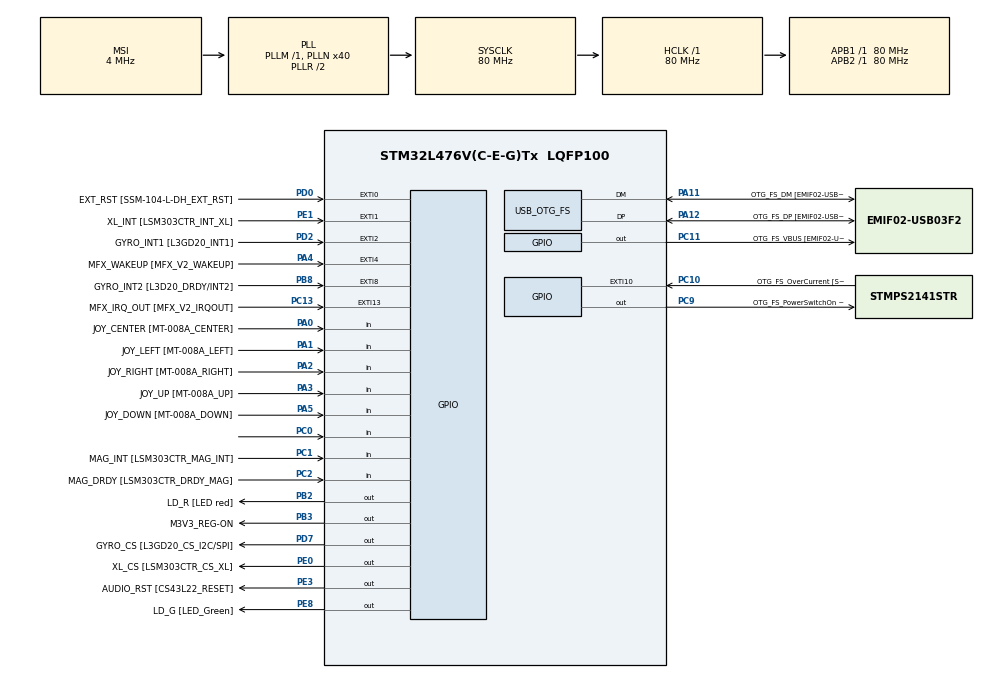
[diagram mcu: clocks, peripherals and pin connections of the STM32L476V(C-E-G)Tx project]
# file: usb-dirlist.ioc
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FATFS._FS_LOCK=20
Mcu.Family=STM32L4
Mcu.Name=STM32L476V(C-E-G)Tx
Mcu.Package=LQFP100
NVIC.OTG_FS_IRQn=true\:0\:0\:false\:false\:true\:true\:true\:true
NVIC.PriorityGroup=NVIC_PRIORITYGROUP_4
PA0.GPIO_Label=JOY_CENTER [MT-008A_CENTER]
PA0.GPIO_Mode=GPIO_MODE_INPUT
PA0.GPIO_PuPd=GPIO_PULLDOWN
PA0.Signal=GPIO_Input
PA1.GPIO_Label=JOY_LEFT [MT-008A_LEFT]
PA1.GPIO_Mode=GPIO_MODE_INPUT
PA1.GPIO_PuPd=GPIO_PULLDOWN
PA1.Signal=GPIO_Input
PA10.GPIO_Label=COM2 [GH08172T_COM2]
PA10.GPIO_Mode=GPIO_MODE_AF_PP
PA10.GPIO_PuPd=GPIO_NOPULL
PA10.GPIO_Speed=GPIO_SPEED_FREQ_LOW
PA10.Signal=LCD_COM2
PA11.GPIO_Label=OTG_FS_DM [EMIF02-USB03F2_D-out]
PA11.GPIO_Mode=GPIO_MODE_AF_PP
PA11.GPIO_PuPd=GPIO_NOPULL
PA11.GPIO_Speed=GPIO_SPEED_FREQ_VERY_HIGH
PA11.Mode=Host_Only
PA11.Signal=USB_OTG_FS_DM
PA12.GPIO_Label=OTG_FS_DP [EMIF02-USB03F2_D+out]
PA12.GPIO_Mode=GPIO_MODE_AF_PP
PA12.GPIO_PuPd=GPIO_NOPULL
PA12.GPIO_Speed=GPIO_SPEED_FREQ_VERY_HIGH
PA12.Mode=Host_Only
PA12.Signal=USB_OTG_FS_DP
PA13\ (JTMS-SWDIO).GPIO_Label=SWDIO
PA13\ (JTMS-SWDIO).Mode=Serial_Wire
PA13\ (JTMS-SWDIO).Signal=SYS_JTMS-SWDIO
PA14\ (JTCK-SWCLK).GPIO_Label=SWCLK
PA14\ (JTCK-SWCLK).Mode=Serial_Wire
PA14\ (JTCK-SWCLK).Signal=SYS_JTCK-SWCLK
PA15\ (JTDI).GPIO_Label=SEG10 [GH08172T_SEG10]
PA15\ (JTDI).GPIO_Mode=GPIO_MODE_AF_PP
PA15\ (JTDI).GPIO_PuPd=GPIO_NOPULL
PA15\ (JTDI).GPIO_Speed=GPIO_SPEED_FREQ_LOW
PA15\ (JTDI).Signal=LCD_SEG17
PA2.GPIO_Label=JOY_RIGHT [MT-008A_RIGHT]
PA2.GPIO_Mode=GPIO_MODE_INPUT
PA2.GPIO_PuPd=GPIO_PULLDOWN
PA2.Signal=GPIO_Input
PA3.GPIO_Label=JOY_UP [MT-008A_UP]
PA3.GPIO_Mode=GPIO_MODE_INPUT
PA3.GPIO_PuPd=GPIO_PULLDOWN
PA3.Signal=GPIO_Input
PA4.GPIO_Label=MFX_WAKEUP [MFX_V2_WAKEUP]
PA4.GPIO_ModeDefaultEXTI=GPIO_MODE_EVT_RISING
PA4.GPIO_PuPd=GPIO_NOPULL
PA4.Signal=GPXTI4
PA5.GPIO_Label=JOY_DOWN [MT-008A_DOWN]
PA5.GPIO_Mode=GPIO_MODE_INPUT
PA5.GPIO_PuPd=GPIO_PULLDOWN
PA5.Signal=GPIO_Input
PA6.GPIO_Label=SEG23 [GH08172T_SEG23]
PA6.GPIO_Mode=GPIO_MODE_AF_PP
PA6.GPIO_PuPd=GPIO_NOPULL
PA6.GPIO_Speed=GPIO_SPEED_FREQ_LOW
PA6.Signal=LCD_SEG3
PA7.GPIO_Label=SEG0 [GH08172T_SEG0]
PA7.GPIO_Mode=GPIO_MODE_AF_PP
PA7.GPIO_PuPd=GPIO_NOPULL
PA7.GPIO_Speed=GPIO_SPEED_FREQ_LOW
PA7.Signal=LCD_SEG4
PA8.GPIO_Label=COM0 [GH08172T_COM0]
PA8.GPIO_Mode=GPIO_MODE_AF_PP
PA8.GPIO_PuPd=GPIO_NOPULL
PA8.GPIO_Speed=GPIO_SPEED_FREQ_LOW
PA8.Signal=LCD_COM0
PA9.GPIO_Label=COM1 [GH08172T_COM1]
PA9.GPIO_Mode=GPIO_MODE_AF_PP
PA9.GPIO_PuPd=GPIO_NOPULL
PA9.GPIO_Speed=GPIO_SPEED_FREQ_LOW
PA9.Signal=LCD_COM1
PB0.GPIO_Label=SEG21 [GH08172T_SEG21]
PB0.GPIO_Mode=GPIO_MODE_AF_PP
PB0.GPIO_PuPd=GPIO_NOPULL
PB0.GPIO_Speed=GPIO_SPEED_FREQ_LOW
PB0.Signal=LCD_SEG5
PB1.GPIO_Label=SEG2 [GH08172T_SEG2]
PB1.GPIO_Mode=GPIO_MODE_AF_PP
PB1.GPIO_PuPd=GPIO_NOPULL
PB1.GPIO_Speed=GPIO_SPEED_FREQ_LOW
PB1.Signal=LCD_SEG6
PB10.GPIO_Label=MFX_I2C_SLC [MFX_V2_I2C_SCL]
PB10.GPIO_Mode=GPIO_MODE_AF_OD
PB10.GPIO_PuPdOD=GPIO_PULLUP
PB10.GPIO_Speed=GPIO_SPEED_FREQ_VERY_HIGH
PB10.Signal=I2C2_SCL
PB11.GPIO_Label=MFX_I2C_SDA [MFX_V2_I2C_SDA]
PB11.GPIO_Mode=GPIO_MODE_AF_OD
PB11.GPIO_PuPdOD=GPIO_PULLUP
PB11.GPIO_Speed=GPIO_SPEED_FREQ_VERY_HIGH
PB11.Signal=I2C2_SDA
PB12.GPIO_Label=SEG20 [GH08172T_SEG20]
PB12.GPIO_Mode=GPIO_MODE_AF_PP
PB12.GPIO_PuPd=GPIO_NOPULL
PB12.GPIO_Speed=GPIO_SPEED_FREQ_LOW
PB12.Signal=LCD_SEG12
PB13.GPIO_Label=SEG3 [GH08172T_SEG3]
PB13.GPIO_Mode=GPIO_MODE_AF_PP
PB13.GPIO_PuPd=GPIO_NOPULL
PB13.GPIO_Speed=GPIO_SPEED_FREQ_LOW
PB13.Signal=LCD_SEG13
PB14.GPIO_Label=SEG19 [GH08172T_SEG19]
PB14.GPIO_Mode=GPIO_MODE_AF_PP
PB14.GPIO_PuPd=GPIO_NOPULL
PB14.GPIO_Speed=GPIO_SPEED_FREQ_LOW
PB14.Signal=LCD_SEG14
PB15.GPIO_Label=SEG4 [GH08172T_SEG4]
PB15.GPIO_Mode=GPIO_MODE_AF_PP
PB15.GPIO_PuPd=GPIO_NOPULL
PB15.GPIO_Speed=GPIO_SPEED_FREQ_LOW
PB15.Signal=LCD_SEG15
PB2.GPIO_Label=LD_R [LED red]
PB2.GPIO_ModeDefaultOutputPP=GPIO_MODE_OUTPUT_PP
PB2.GPIO_PuPd=GPIO_PULLUP
PB2.GPIO_Speed=GPIO_SPEED_FREQ_VERY_HIGH
PB2.Signal=GPIO_Output
PB3\ (JTDO-TRACESWO).GPIO_Label=M3V3_REG-ON
PB3\ (JTDO-TRACESWO).GPIO_ModeDefaultOutputPP=GPIO_MODE_OUTPUT_PP
PB3\ (JTDO-TRACESWO).GPIO_PuPd=GPIO_NOPULL
PB3\ (JTDO-TRACESWO).GPIO_Speed=GPIO_SPEED_FREQ_LOW
PB3\ (JTDO-TRACESWO).Signal=GPIO_Output
PB4\ (NJTRST).GPIO_Label=SEG11 [GH08172T_SEG11]
PB4\ (NJTRST).GPIO_Mode=GPIO_MODE_AF_PP
PB4\ (NJTRST).GPIO_PuPd=GPIO_NOPULL
PB4\ (NJTRST).GPIO_Speed=GPIO_SPEED_FREQ_LOW
PB4\ (NJTRST).Signal=LCD_SEG8
PB5.GPIO_Label=SEG12 [GH08172T_SEG12]
PB5.GPIO_Mode=GPIO_MODE_AF_PP
PB5.GPIO_PuPd=GPIO_NOPULL
PB5.GPIO_Speed=GPIO_SPEED_FREQ_LOW
PB5.Signal=LCD_SEG9
PB6.GPIO_FM6=__NULL
PB6.GPIO_Label=I2C1_SCL [SSM-104-L-DH_SCL]
PB6.GPIO_Mode=GPIO_MODE_AF_OD
PB6.GPIO_PuPdOD=GPIO_PULLUP
PB6.GPIO_Speed=GPIO_SPEED_FREQ_VERY_HIGH
PB6.Signal=I2C1_SCL
PB7.GPIO_FM7=__NULL
PB7.GPIO_Label=I2C1_SDA [SSM-104-L-DH_SDA]
PB7.GPIO_Mode=GPIO_MODE_AF_OD
PB7.GPIO_PuPdOD=GPIO_PULLUP
PB7.GPIO_Speed=GPIO_SPEED_FREQ_VERY_HIGH
PB7.Signal=I2C1_SDA
PB8.GPIO_Label=GYRO_INT2 [L3D20_DRDY/INT2]
PB8.GPIO_ModeDefaultEXTI=GPIO_MODE_EVT_RISING
PB8.GPIO_PuPd=GPIO_NOPULL
PB8.Signal=GPXTI8
PB9.GPIO_FM9=__NULL
PB9.GPIO_Label=COM3 [GH08172T_COM3]
PB9.GPIO_Mode=GPIO_MODE_AF_PP
PB9.GPIO_PuPd=GPIO_NOPULL
PB9.GPIO_Speed=GPIO_SPEED_FREQ_LOW
PB9.Signal=LCD_COM3
PC0.Signal=GPIO_Input
PC1.GPIO_Label=MAG_INT [LSM303CTR_MAG_INT]
PC1.GPIO_Mode=GPIO_MODE_INPUT
PC1.GPIO_PuPd=GPIO_NOPULL
PC1.Signal=GPIO_Input
PC10.GPIO_Label=OTG_FS_OverCurrent [STMPS2141STR_FAULT]
PC10.GPIO_ModeDefaultEXTI=GPIO_MODE_EVT_RISING
PC10.GPIO_PuPd=GPIO_NOPULL
PC10.Signal=GPXTI10
PC11.GPIO_Label=OTG_FS_VBUS [EMIF02-USB03F2_Vbus]
PC11.GPIO_ModeDefaultOutputPP=GPIO_MODE_OUTPUT_PP
PC11.GPIO_PuPd=GPIO_NOPULL
PC11.GPIO_Speed=GPIO_SPEED_FREQ_LOW
PC11.Signal=GPIO_Output
PC13.GPIO_Label=MFX_IRQ_OUT [MFX_V2_IRQOUT]
PC13.GPIO_ModeDefaultEXTI=GPIO_MODE_EVT_RISING
PC13.GPIO_PuPd=GPIO_NOPULL
PC13.Signal=GPXTI13
PC14-OSC32_IN\ (PC14).Mode=LSE-External-Oscillator
PC14-OSC32_IN\ (PC14).Signal=RCC_OSC32_IN
PC15-OSC32_OUT\ (PC15).Mode=LSE-External-Oscillator
PC15-OSC32_OUT\ (PC15).Signal=RCC_OSC32_OUT
PC2.GPIO_Label=MAG_DRDY [LSM303CTR_DRDY_MAG]
PC2.GPIO_Mode=GPIO_MODE_INPUT
PC2.GPIO_PuPd=GPIO_NOPULL
PC2.Signal=GPIO_Input
PC3.GPIO_Label=VLCD
PC3.GPIO_Mode=GPIO_MODE_AF_PP
PC3.GPIO_PuPd=GPIO_NOPULL
PC3.GPIO_Speed=GPIO_SPEED_FREQ_LOW
PC3.Signal=LCD_VLCD
PC4.GPIO_Label=SEG22 [GH08172T_SEG22]
PC4.GPIO_Mode=GPIO_MODE_AF_PP
PC4.GPIO_PuPd=GPIO_NOPULL
PC4.GPIO_Speed=GPIO_SPEED_FREQ_LOW
PC4.Signal=LCD_SEG22
PC5.GPIO_Label=SEG1 [GH08172T_SEG1]
PC5.GPIO_Mode=GPIO_MODE_AF_PP
PC5.GPIO_PuPd=GPIO_NOPULL
PC5.GPIO_Speed=GPIO_SPEED_FREQ_LOW
PC5.Signal=LCD_SEG23
PC6.GPIO_Label=SEG14 [GH08172T_SEG14]
PC6.GPIO_Mode=GPIO_MODE_AF_PP
PC6.GPIO_PuPd=GPIO_NOPULL
PC6.GPIO_Speed=GPIO_SPEED_FREQ_LOW
PC6.Signal=LCD_SEG24
PC7.GPIO_Label=SEG9 [GH08172T_SEG9]
PC7.GPIO_Mode=GPIO_MODE_AF_PP
PC7.GPIO_PuPd=GPIO_NOPULL
PC7.GPIO_Speed=GPIO_SPEED_FREQ_LOW
PC7.Signal=LCD_SEG25
PC8.GPIO_Label=SEG13 [GH08172T_SEG13]
PC8.GPIO_Mode=GPIO_MODE_AF_PP
PC8.GPIO_PuPd=GPIO_NOPULL
PC8.GPIO_Speed=GPIO_SPEED_FREQ_LOW
PC8.Signal=LCD_SEG26
PC9.GPIO_Label=OTG_FS_PowerSwitchOn [STMPS2141STR_EN]
PC9.GPIO_ModeDefaultOutputPP=GPIO_MODE_OUTPUT_PP
PC9.GPIO_PuPd=GPIO_NOPULL
PC9.GPIO_Speed=GPIO_SPEED_FREQ_LOW
PC9.PinState=GPIO_PIN_SET
PC9.Signal=GPIO_Output
PD0.GPIO_Label=EXT_RST [SSM-104-L-DH_EXT_RST]
PD0.GPIO_ModeDefaultEXTI=GPIO_MODE_EVT_RISING
PD0.GPIO_PuPd=GPIO_NOPULL
PD0.Signal=GPXTI0
PD1.GPIO_Label=MEMS_SCK [L3GD20_SCL/SPC]
PD1.GPIO_Mode=GPIO_MODE_AF_PP
PD1.GPIO_PuPd=GPIO_NOPULL
PD1.GPIO_Speed=GPIO_SPEED_FREQ_VERY_HIGH
PD1.Signal=SPI2_SCK
PD10.GPIO_Label=SEG17 [GH08172T_SEG17]
PD10.GPIO_Mode=GPIO_MODE_AF_PP
PD10.GPIO_PuPd=GPIO_NOPULL
PD10.GPIO_Speed=GPIO_SPEED_FREQ_LOW
PD10.Signal=LCD_SEG30
PD11.GPIO_Label=SEG6 [GH08172T_SEG6]
PD11.GPIO_Mode=GPIO_MODE_AF_PP
PD11.GPIO_PuPd=GPIO_NOPULL
PD11.GPIO_Speed=GPIO_SPEED_FREQ_LOW
PD11.Signal=LCD_SEG31
PD12.GPIO_Label=SEG16 [GH08172T_SEG16]
PD12.GPIO_Mode=GPIO_MODE_AF_PP
PD12.GPIO_PuPd=GPIO_NOPULL
PD12.GPIO_Speed=GPIO_SPEED_FREQ_LOW
PD12.Signal=LCD_SEG32
PD13.GPIO_Label=SEG7 [GH08172T_SEG7]
PD13.GPIO_Mode=GPIO_MODE_AF_PP
PD13.GPIO_PuPd=GPIO_NOPULL
PD13.GPIO_Speed=GPIO_SPEED_FREQ_LOW
PD13.Signal=LCD_SEG33
PD14.GPIO_Label=SEG15 [GH08172T_SEG15]
PD14.GPIO_Mode=GPIO_MODE_AF_PP
PD14.GPIO_PuPd=GPIO_NOPULL
PD14.GPIO_Speed=GPIO_SPEED_FREQ_LOW
PD14.Signal=LCD_SEG34
PD15.GPIO_Label=SEG8 [GH08172T_SEG8]
PD15.GPIO_Mode=GPIO_MODE_AF_PP
PD15.GPIO_PuPd=GPIO_NOPULL
PD15.GPIO_Speed=GPIO_SPEED_FREQ_LOW
PD15.Signal=LCD_SEG35
PD2.GPIO_Label=GYRO_INT1 [L3GD20_INT1]
PD2.GPIO_ModeDefaultEXTI=GPIO_MODE_EVT_RISING
PD2.GPIO_PuPd=GPIO_NOPULL
PD2.Signal=GPXTI2
PD3.GPIO_Label=MEMS_MISO [L3GD20_SA0/SDO]
PD3.GPIO_Mode=GPIO_MODE_AF_PP
PD3.GPIO_PuPd=GPIO_NOPULL
PD3.GPIO_Speed=GPIO_SPEED_FREQ_VERY_HIGH
PD3.Signal=SPI2_MISO
PD4.GPIO_Label=MEMS_MOSI [L3GD20_SDA/SDI/SDO]
PD4.GPIO_Mode=GPIO_MODE_AF_PP
PD4.GPIO_PuPd=GPIO_NOPULL
PD4.GPIO_Speed=GPIO_SPEED_FREQ_VERY_HIGH
PD4.Signal=SPI2_MOSI
PD5.GPIO_Label=USART_TX
PD5.GPIO_Mode=GPIO_MODE_AF_PP
PD5.GPIO_PuPd=GPIO_PULLUP
PD5.GPIO_Speed=GPIO_SPEED_FREQ_VERY_HIGH
PD5.Signal=USART2_TX
PD6.GPIO_Label=USART_RX
PD6.GPIO_Mode=GPIO_MODE_AF_PP
PD6.GPIO_PuPd=GPIO_PULLUP
PD6.GPIO_Speed=GPIO_SPEED_FREQ_VERY_HIGH
PD6.Signal=USART2_RX
PD7.GPIO_Label=GYRO_CS [L3GD20_CS_I2C/SPI]
PD7.GPIO_ModeDefaultOutputPP=GPIO_MODE_OUTPUT_PP
PD7.GPIO_PuPd=GPIO_NOPULL
PD7.GPIO_Speed=GPIO_SPEED_FREQ_VERY_HIGH
PD7.Signal=GPIO_Output
PD8.GPIO_Label=SEG18 [GH08172T_SEG18]
PD8.GPIO_Mode=GPIO_MODE_AF_PP
PD8.GPIO_PuPd=GPIO_NOPULL
PD8.GPIO_Speed=GPIO_SPEED_FREQ_LOW
PD8.Signal=LCD_SEG28
PD9.GPIO_Label=SEG5 [GH08172T_SEG5]
PD9.GPIO_Mode=GPIO_MODE_AF_PP
PD9.GPIO_PuPd=GPIO_NOPULL
PD9.GPIO_Speed=GPIO_SPEED_FREQ_LOW
PD9.Signal=LCD_SEG29
PE0.GPIO_Label=XL_CS [LSM303CTR_CS_XL]
PE0.GPIO_ModeDefaultOutputPP=GPIO_MODE_OUTPUT_PP
PE0.GPIO_PuPd=GPIO_NOPULL
PE0.GPIO_Speed=GPIO_SPEED_FREQ_LOW
PE0.Signal=GPIO_Output
PE1.GPIO_Label=XL_INT [LSM303CTR_INT_XL]
PE1.GPIO_ModeDefaultEXTI=GPIO_MODE_EVT_RISING
PE1.GPIO_PuPd=GPIO_NOPULL
PE1.Signal=GPXTI1
PE10.GPIO_Label=QSPI_CLK [N25Q128A13EF840E_C]
PE10.GPIO_Mode=GPIO_MODE_AF_PP
PE10.GPIO_PuPd=GPIO_NOPULL
PE10.GPIO_Speed=GPIO_SPEED_FREQ_VERY_HIGH
PE10.Signal=QUADSPI_CLK
PE11.GPIO_Label=QSPI_CS [N25Q128A13EF840E_S\#]
PE11.GPIO_Mode=GPIO_MODE_AF_PP
PE11.GPIO_PuPd=GPIO_NOPULL
PE11.GPIO_Speed=GPIO_SPEED_FREQ_VERY_HIGH
PE11.Signal=QUADSPI_NCS
PE12.GPIO_Label=QSPI_D0 [N25Q128A13EF840E_DQ0]
PE12.GPIO_Mode=GPIO_MODE_AF_PP
PE12.GPIO_PuPd=GPIO_NOPULL
PE12.GPIO_Speed=GPIO_SPEED_FREQ_VERY_HIGH
PE12.Signal=QUADSPI_BK1_IO0
PE13.GPIO_Label=QSPI_D1 [N25Q128A13EF840E_DQ1]
PE13.GPIO_Mode=GPIO_MODE_AF_PP
PE13.GPIO_PuPd=GPIO_NOPULL
PE13.GPIO_Speed=GPIO_SPEED_FREQ_VERY_HIGH
PE13.Signal=QUADSPI_BK1_IO1
PE14.GPIO_Label=QSPI_D2 [N25Q128A13EF840E_DQ2]
PE14.GPIO_Mode=GPIO_MODE_AF_PP
PE14.GPIO_PuPd=GPIO_NOPULL
PE14.GPIO_Speed=GPIO_SPEED_FREQ_VERY_HIGH
PE14.Signal=QUADSPI_BK1_IO2
PE15.GPIO_Label=QSPI_D3 [N25Q128A13EF840E_DQ3]
PE15.GPIO_Mode=GPIO_MODE_AF_PP
PE15.GPIO_PuPd=GPIO_NOPULL
PE15.GPIO_Speed=GPIO_SPEED_FREQ_VERY_HIGH
PE15.Signal=QUADSPI_BK1_IO3
PE2.GPIO_Label=SAI1_MCK [CS43L22_MCLK]
PE2.GPIO_Mode=GPIO_MODE_AF_PP
PE2.GPIO_PuPd=GPIO_NOPULL
PE2.GPIO_Speed=GPIO_SPEED_FREQ_VERY_HIGH
PE2.Signal=SAI1_MCLK_A
PE3.GPIO_Label=AUDIO_RST [CS43L22_RESET]
PE3.GPIO_ModeDefaultOutputPP=GPIO_MODE_OUTPUT_PP
PE3.GPIO_PuPd=GPIO_NOPULL
PE3.GPIO_Speed=GPIO_SPEED_FREQ_HIGH
PE3.Signal=GPIO_Output
PE4.GPIO_Label=SAI1_FS [CS43L22_LRCK]
PE4.GPIO_Mode=GPIO_MODE_AF_PP
PE4.GPIO_PuPd=GPIO_NOPULL
PE4.GPIO_Speed=GPIO_SPEED_FREQ_VERY_HIGH
PE4.Signal=SAI1_FS_A
PE5.GPIO_Label=SAI1_SCK [CS43L22_SCLK]
PE5.GPIO_Mode=GPIO_MODE_AF_PP
PE5.GPIO_PuPd=GPIO_NOPULL
PE5.GPIO_Speed=GPIO_SPEED_FREQ_VERY_HIGH
PE5.Signal=SAI1_SCK_A
PE6.GPIO_Label=SAI1_SD [CS43L22_SDIN]
PE6.GPIO_Mode=GPIO_MODE_AF_PP
PE6.GPIO_PuPd=GPIO_NOPULL
PE6.GPIO_Speed=GPIO_SPEED_FREQ_VERY_HIGH
PE6.Signal=SAI1_SD_A
PE7.GPIO_Label=AUDIO_DIN [MP34DT01_DOUT]
PE7.GPIO_Mode=GPIO_MODE_AF_PP
PE7.GPIO_PuPd=GPIO_NOPULL
PE7.GPIO_Speed=GPIO_SPEED_FREQ_VERY_HIGH
PE7.Signal=SAI1_SD_B
PE8.GPIO_Label=LD_G [LED_Green]
PE8.GPIO_ModeDefaultOutputPP=GPIO_MODE_OUTPUT_PP
PE8.GPIO_PuPd=GPIO_PULLUP
PE8.GPIO_Speed=GPIO_SPEED_FREQ_VERY_HIGH
PE8.Signal=GPIO_Output
PE9.GPIO_Label=AUDIO_CLK [MP34DT01_CLK]
PE9.GPIO_Mode=GPIO_MODE_AF_PP
PE9.GPIO_PuPd=GPIO_NOPULL
PE9.GPIO_Speed=GPIO_SPEED_FREQ_LOW
PE9.Signal=SAI1_FS_B
PH0-OSC_IN\ (PH0).Mode=HSE-External-Oscillator
PH0-OSC_IN\ (PH0).Signal=RCC_OSC_IN
PH1-OSC_OUT\ (PH1).Mode=HSE-External-Oscillator
PH1-OSC_OUT\ (PH1).Signal=RCC_OSC_OUT
ProjectManager.HeapSize=0x400
ProjectManager.StackSize=0x800
ProjectManager.TargetToolchain=MDK-ARM V5.27
RCC.ADCFreq_Value=48000000
RCC.AHBFreq_Value=80000000
RCC.APB1Freq_Value=80000000
RCC.APB1TimFreq_Value=80000000
RCC.APB2Freq_Value=80000000
RCC.APB2TimFreq_Value=80000000
RCC.CortexFreq_Value=80000000
RCC.HCLKFreq_Value=80000000
RCC.HSE_VALUE=8000000
RCC.HSI_VALUE=16000000
RCC.MSI_VALUE=4000000
RCC.PLLN=40
RCC.PLLSAI1N=24
RCC.PREFETCH_ENABLE=1
RCC.SYSCLKFreq_VALUE=80000000
RCC.SYSCLKSource=RCC_SYSCLKSOURCE_PLLCLK
RCC.USBFreq_Value=48000000
RCC.VCOOutputFreq_Value=160000000
USB_HOST.BSP.number=1
USB_HOST.USBH_HandleTypeDef=hUsbHostFS
USB_HOST.VirtualModeFS=Msc
USB_HOST0.BSP.STBoard=false
USB_HOST0.BSP.api=Unknown
USB_HOST0.BSP.instance=PC9
USB_HOST0.BSP.ip=GPIO
USB_HOST0.BSP.mode=Output
USB_HOST0.BSP.name=Drive_VBUS_FS
USB_HOST0.BSP.solution=PC9
USB_OTG_FS.VirtualMode=Host_Only
USB_OTG_FS.phy_itface=HCD_PHY_EMBEDDED
VP_FATFS_VS_USB.Mode=USB
VP_USB_HOST_VS_USB_HOST_MSC_FS.Mode=MSC_FS
board=STM32L476G-DISCO

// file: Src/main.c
/* USER CODE BEGIN Header */
/**
  ******************************************************************************
  * @file           : main.c
  * @brief          : Main program body
  ******************************************************************************
  * @attention
  *
  * <h2><center>&copy; Copyright (c) 2020 STMicroelectronics.
  * All rights reserved.</center></h2>
  *
  * This software component is licensed by ST under Ultimate Liberty license
  * SLA0044, the "License"; You may not use this file except in compliance with
  * the License. You may obtain a copy of the License at:
  *                             www.st.com/SLA0044
  *
  ******************************************************************************
  */
/* USER CODE END Header */
#include "main.h"
#include "fatfs.h"
#include "usb_host.h"

/* USER CODE BEGIN Includes */
#include <stdio.h>

/* USER CODE END Includes */

/* USER CODE BEGIN PV */

extern ApplicationTypeDef Appli_state;
// uint8_t workBuffer[_MAX_SS];
uint8_t rtext[2000]; 	/* File read buffer */
char dirlist[25000];	/* directory list buffer */
#define DRLIST_SIZE 25000
char *dirlistptr = &dirlist[0];
char pathbuffer[260];
char errorlist[3][100] = {"Failed to open file for writing.", "Failed to write to file.", "Failed to close file."};
char error [100];

FIL MyFile;                   /* File object */

/* USER CODE END PV */

void SystemClock_Config(void);
static void MX_GPIO_Init(void);
void MX_USB_HOST_Process(void);

/* USER CODE BEGIN 0 */

FRESULT scan_files( char* path) {
	FRESULT res;
	DIR dir;
	int i;
	static FILINFO fno;
	res = f_opendir(&dir, path);                       /* Open the directory */
    if (res == FR_OK) {
			while (1) {
            res = f_readdir(&dir, &fno);                   /* Read a directory item */
            if (res != FR_OK || fno.fname[0] == 0) break;  /* Break on error or end of dir */
            if (fno.fattrib & AM_DIR) {                    /* It is a directory */
                i = strlen(path);
                sprintf(&path[i], "/%s", fno.fname);
                res = scan_files(path);                    /* Enter the directory */
                if (res != FR_OK) break;
                path[i] = 0;
            }
						else
							{                                       /* It is a file. */
                sprintf(dirlist + strlen(dirlist), "%s/%s\n", path, fno.fname);
            }
			}
      f_closedir(&dir);
    }
  return res;
}

FRESULT write_dirlist(char* path, char* list) {
	FIL OutFile;
	FRESULT res;
	uint32_t byteswritten;

	if (f_open(&OutFile, path, FA_WRITE | FA_CREATE_ALWAYS) == FR_OK)
	{
		res = f_write(&OutFile, list, strlen(list), &byteswritten);
		if (res == FR_OK)
		{
			f_close(&OutFile);
		}
	}
  return res;
}

/**
  * @brief  Main routine for Mass Storage Class
  * @param  None
  * @retval None
  */
static void FS_FileOperations(void) {

	 /* Register the file system object to the FatFs module */
  if(f_mount(&USBHFatFS, (TCHAR const*)USBHPath, 0) == FR_OK) {
		strcpy(pathbuffer, "");
		if (scan_files(pathbuffer) == FR_OK) {
			if (write_dirlist("/dirlist.txt", dirlist) == FR_OK) {
			  HAL_GPIO_WritePin(LD_G_GPIO_Port, LD_G_Pin,GPIO_PIN_SET);
			  return;
			}
		}
	}
  HAL_GPIO_WritePin(LD_R_GPIO_Port, LD_R_Pin,GPIO_PIN_SET);
}

/* USER CODE END 0 */

int main(void)
{

  /* MCU Configuration--------------------------------------------------------*/

  /* Reset of all peripherals, Initializes the Flash interface and the Systick. */
  HAL_Init();

  /* Configure the system clock */
  SystemClock_Config();

  /* Initialize all configured peripherals */
  MX_GPIO_Init();
  MX_USB_HOST_Init();
  MX_FATFS_Init();

  /* Infinite loop */
  while (1)
  {
    MX_USB_HOST_Process();

    /* USER CODE BEGIN 3 */
    /* Mass Storage Application State Machine */
    switch(Appli_state) {
      case APPLICATION_READY:
        FS_FileOperations();
        Appli_state = APPLICATION_IDLE;
        break;

      case APPLICATION_IDLE:
        default:
        break;
      }
		}
  /* USER CODE END 3 */
}

void SystemClock_Config(void)
{
  RCC_OscInitTypeDef RCC_OscInitStruct = {0};
  RCC_ClkInitTypeDef RCC_ClkInitStruct = {0};

  /** Configure the main internal regulator output voltage
  */
  if (HAL_PWREx_ControlVoltageScaling(PWR_REGULATOR_VOLTAGE_SCALE1) != HAL_OK)
  {
    Error_Handler();
  }

  /** Configure LSE Drive Capability
  */
  HAL_PWR_EnableBkUpAccess();
  __HAL_RCC_LSEDRIVE_CONFIG(RCC_LSEDRIVE_LOW);

  /** Initializes the RCC Oscillators according to the specified parameters
  * in the RCC_OscInitTypeDef structure.
  */
  RCC_OscInitStruct.OscillatorType = RCC_OSCILLATORTYPE_LSE|RCC_OSCILLATORTYPE_MSI;
  RCC_OscInitStruct.LSEState = RCC_LSE_ON;
  RCC_OscInitStruct.MSIState = RCC_MSI_ON;
  RCC_OscInitStruct.MSICalibrationValue = 0;
  RCC_OscInitStruct.MSIClockRange = RCC_MSIRANGE_6;
  RCC_OscInitStruct.PLL.PLLState = RCC_PLL_ON;
  RCC_OscInitStruct.PLL.PLLSource = RCC_PLLSOURCE_MSI;
  RCC_OscInitStruct.PLL.PLLM = 1;
  RCC_OscInitStruct.PLL.PLLN = 40;
  RCC_OscInitStruct.PLL.PLLP = RCC_PLLP_DIV7;
  RCC_OscInitStruct.PLL.PLLQ = RCC_PLLQ_DIV2;
  RCC_OscInitStruct.PLL.PLLR = RCC_PLLR_DIV2;
  if (HAL_RCC_OscConfig(&RCC_OscInitStruct) != HAL_OK)
  {
    Error_Handler();
  }

  /** Initializes the CPU, AHB and APB buses clocks
  */
  RCC_ClkInitStruct.ClockType = RCC_CLOCKTYPE_HCLK|RCC_CLOCKTYPE_SYSCLK
                              |RCC_CLOCKTYPE_PCLK1|RCC_CLOCKTYPE_PCLK2;
  RCC_ClkInitStruct.SYSCLKSource = RCC_SYSCLKSOURCE_PLLCLK;
  RCC_ClkInitStruct.AHBCLKDivider = RCC_SYSCLK_DIV1;
  RCC_ClkInitStruct.APB1CLKDivider = RCC_HCLK_DIV1;
  RCC_ClkInitStruct.APB2CLKDivider = RCC_HCLK_DIV1;

  if (HAL_RCC_ClockConfig(&RCC_ClkInitStruct, FLASH_LATENCY_4) != HAL_OK)
  {
    Error_Handler();
  }

  /** Enable MSI Auto calibration
  */
  HAL_RCCEx_EnableMSIPLLMode();
}

static void MX_GPIO_Init(void)
{
  GPIO_InitTypeDef GPIO_InitStruct = {0};

  /* GPIO Ports Clock Enable */
  __HAL_RCC_GPIOE_CLK_ENABLE();
  __HAL_RCC_GPIOC_CLK_ENABLE();
  __HAL_RCC_GPIOH_CLK_ENABLE();
  __HAL_RCC_GPIOA_CLK_ENABLE();
  __HAL_RCC_GPIOB_CLK_ENABLE();
  __HAL_RCC_GPIOD_CLK_ENABLE();

  /*Configure GPIO pin Output Level */
  HAL_GPIO_WritePin(GPIOE, AUDIO_RST_Pin|LD_G_Pin|XL_CS_Pin, GPIO_PIN_RESET);

  /*Configure GPIO pin Output Level */
  HAL_GPIO_WritePin(GPIOB, LD_R_Pin|M3V3_REG_ON_Pin, GPIO_PIN_RESET);

  /*Configure GPIO pin Output Level */
  HAL_GPIO_WritePin(OTG_FS_PowerSwitchOn_GPIO_Port, OTG_FS_PowerSwitchOn_Pin, GPIO_PIN_SET);

  /*Configure GPIO pin Output Level */
  HAL_GPIO_WritePin(OTG_FS_VBUS_GPIO_Port, OTG_FS_VBUS_Pin, GPIO_PIN_RESET);

  /*Configure GPIO pin Output Level */
  HAL_GPIO_WritePin(GYRO_CS_GPIO_Port, GYRO_CS_Pin, GPIO_PIN_RESET);

  /*Configure GPIO pins : SAI1_MCK_Pin SAI1_FS_Pin SAI1_SCK_Pin SAI1_SD_Pin
                           AUDIO_DIN_Pin */
  GPIO_InitStruct.Pin = SAI1_MCK_Pin|SAI1_FS_Pin|SAI1_SCK_Pin|SAI1_SD_Pin
                          |AUDIO_DIN_Pin;
  GPIO_InitStruct.Mode = GPIO_MODE_AF_PP;
  GPIO_InitStruct.Pull = GPIO_NOPULL;
  GPIO_InitStruct.Speed = GPIO_SPEED_FREQ_VERY_HIGH;
  GPIO_InitStruct.Alternate = GPIO_AF13_SAI1;
  HAL_GPIO_Init(GPIOE, &GPIO_InitStruct);

  /*Configure GPIO pin : AUDIO_RST_Pin */
  GPIO_InitStruct.Pin = AUDIO_RST_Pin;
  GPIO_InitStruct.Mode = GPIO_MODE_OUTPUT_PP;
  GPIO_InitStruct.Pull = GPIO_NOPULL;
  GPIO_InitStruct.Speed = GPIO_SPEED_FREQ_HIGH;
  HAL_GPIO_Init(AUDIO_RST_GPIO_Port, &GPIO_InitStruct);

  /*Configure GPIO pins : MFX_IRQ_OUT_Pin OTG_FS_OverCurrent_Pin */
  GPIO_InitStruct.Pin = MFX_IRQ_OUT_Pin|OTG_FS_OverCurrent_Pin;
  GPIO_InitStruct.Mode = GPIO_MODE_EVT_RISING;
  GPIO_InitStruct.Pull = GPIO_NOPULL;
  HAL_GPIO_Init(GPIOC, &GPIO_InitStruct);

  /*Configure GPIO pins : PC0 MAG_INT_Pin MAG_DRDY_Pin */
  GPIO_InitStruct.Pin = GPIO_PIN_0|MAG_INT_Pin|MAG_DRDY_Pin;
  GPIO_InitStruct.Mode = GPIO_MODE_INPUT;
  GPIO_InitStruct.Pull = GPIO_NOPULL;
  HAL_GPIO_Init(GPIOC, &GPIO_InitStruct);

  /*Configure GPIO pins : VLCD_Pin SEG22_Pin SEG1_Pin SEG14_Pin
                           SEG9_Pin SEG13_Pin */
  GPIO_InitStruct.Pin = VLCD_Pin|SEG22_Pin|SEG1_Pin|SEG14_Pin
                          |SEG9_Pin|SEG13_Pin;
  GPIO_InitStruct.Mode = GPIO_MODE_AF_PP;
  GPIO_InitStruct.Pull = GPIO_NOPULL;
  GPIO_InitStruct.Speed = GPIO_SPEED_FREQ_LOW;
  GPIO_InitStruct.Alternate = GPIO_AF11_LCD;
  HAL_GPIO_Init(GPIOC, &GPIO_InitStruct);

  /*Configure GPIO pins : JOY_CENTER_Pin JOY_LEFT_Pin JOY_RIGHT_Pin JOY_UP_Pin
                           JOY_DOWN_Pin */
  GPIO_InitStruct.Pin = JOY_CENTER_Pin|JOY_LEFT_Pin|JOY_RIGHT_Pin|JOY_UP_Pin
                          |JOY_DOWN_Pin;
  GPIO_InitStruct.Mode = GPIO_MODE_INPUT;
  GPIO_InitStruct.Pull = GPIO_PULLDOWN;
  HAL_GPIO_Init(GPIOA, &GPIO_InitStruct);

  /*Configure GPIO pin : MFX_WAKEUP_Pin */
  GPIO_InitStruct.Pin = MFX_WAKEUP_Pin;
  GPIO_InitStruct.Mode = GPIO_MODE_EVT_RISING;
  GPIO_InitStruct.Pull = GPIO_NOPULL;
  HAL_GPIO_Init(MFX_WAKEUP_GPIO_Port, &GPIO_InitStruct);

  /*Configure GPIO pins : SEG23_Pin SEG0_Pin COM0_Pin COM1_Pin
                           COM2_Pin SEG10_Pin */
  GPIO_InitStruct.Pin = SEG23_Pin|SEG0_Pin|COM0_Pin|COM1_Pin
                          |COM2_Pin|SEG10_Pin;
  GPIO_InitStruct.Mode = GPIO_MODE_AF_PP;
  GPIO_InitStruct.Pull = GPIO_NOPULL;
  GPIO_InitStruct.Speed = GPIO_SPEED_FREQ_LOW;
  GPIO_InitStruct.Alternate = GPIO_AF11_LCD;
  HAL_GPIO_Init(GPIOA, &GPIO_InitStruct);

  /*Configure GPIO pins : SEG21_Pin SEG2_Pin SEG20_Pin SEG3_Pin
                           SEG19_Pin SEG4_Pin SEG11_Pin SEG12_Pin
                           COM3_Pin */
  GPIO_InitStruct.Pin = SEG21_Pin|SEG2_Pin|SEG20_Pin|SEG3_Pin
                          |SEG19_Pin|SEG4_Pin|SEG11_Pin|SEG12_Pin
                          |COM3_Pin;
  GPIO_InitStruct.Mode = GPIO_MODE_AF_PP;
  GPIO_InitStruct.Pull = GPIO_NOPULL;
  GPIO_InitStruct.Speed = GPIO_SPEED_FREQ_LOW;
  GPIO_InitStruct.Alternate = GPIO_AF11_LCD;
  HAL_GPIO_Init(GPIOB, &GPIO_InitStruct);

  /*Configure GPIO pin : LD_R_Pin */
  GPIO_InitStruct.Pin = LD_R_Pin;
  GPIO_InitStruct.Mode = GPIO_MODE_OUTPUT_PP;
  GPIO_InitStruct.Pull = GPIO_PULLUP;
  GPIO_InitStruct.Speed = GPIO_SPEED_FREQ_VERY_HIGH;
  HAL_GPIO_Init(LD_R_GPIO_Port, &GPIO_InitStruct);

  /*Configure GPIO pin : LD_G_Pin */
  GPIO_InitStruct.Pin = LD_G_Pin;
  GPIO_InitStruct.Mode = GPIO_MODE_OUTPUT_PP;
  GPIO_InitStruct.Pull = GPIO_PULLUP;
  GPIO_InitStruct.Speed = GPIO_SPEED_FREQ_VERY_HIGH;
  HAL_GPIO_Init(LD_G_GPIO_Port, &GPIO_InitStruct);

  /*Configure GPIO pin : AUDIO_CLK_Pin */
  GPIO_InitStruct.Pin = AUDIO_CLK_Pin;
  GPIO_InitStruct.Mode = GPIO_MODE_AF_PP;
  GPIO_InitStruct.Pull = GPIO_NOPULL;
  GPIO_InitStruct.Speed = GPIO_SPEED_FREQ_LOW;
  GPIO_InitStruct.Alternate = GPIO_AF13_SAI1;
  HAL_GPIO_Init(AUDIO_CLK_GPIO_Port, &GPIO_InitStruct);

  /*Configure GPIO pins : QSPI_CLK_Pin QSPI_CS_Pin QSPI_D0_Pin QSPI_D1_Pin
                           QSPI_D2_Pin QSPI_D3_Pin */
  GPIO_InitStruct.Pin = QSPI_CLK_Pin|QSPI_CS_Pin|QSPI_D0_Pin|QSPI_D1_Pin
                          |QSPI_D2_Pin|QSPI_D3_Pin;
  GPIO_InitStruct.Mode = GPIO_MODE_AF_PP;
  GPIO_InitStruct.Pull = GPIO_NOPULL;
  GPIO_InitStruct.Speed = GPIO_SPEED_FREQ_VERY_HIGH;
  GPIO_InitStruct.Alternate = GPIO_AF10_QUADSPI;
  HAL_GPIO_Init(GPIOE, &GPIO_InitStruct);

  /*Configure GPIO pins : MFX_I2C_SLC_Pin MFX_I2C_SDA_Pin */
  GPIO_InitStruct.Pin = MFX_I2C_SLC_Pin|MFX_I2C_SDA_Pin;
  GPIO_InitStruct.Mode = GPIO_MODE_AF_OD;
  GPIO_InitStruct.Pull = GPIO_NOPULL;
  GPIO_InitStruct.Speed = GPIO_SPEED_FREQ_VERY_HIGH;
  GPIO_InitStruct.Alternate = GPIO_AF4_I2C2;
  HAL_GPIO_Init(GPIOB, &GPIO_InitStruct);

  /*Configure GPIO pins : SEG18_Pin SEG5_Pin SEG17_Pin SEG6_Pin
                           SEG16_Pin SEG7_Pin SEG15_Pin SEG8_Pin */
  GPIO_InitStruct.Pin = SEG18_Pin|SEG5_Pin|SEG17_Pin|SEG6_Pin
                          |SEG16_Pin|SEG7_Pin|SEG15_Pin|SEG8_Pin;
  GPIO_InitStruct.Mode = GPIO_MODE_AF_PP;
  GPIO_InitStruct.Pull = GPIO_NOPULL;
  GPIO_InitStruct.Speed = GPIO_SPEED_FREQ_LOW;
  GPIO_InitStruct.Alternate = GPIO_AF11_LCD;
  HAL_GPIO_Init(GPIOD, &GPIO_InitStruct);

  /*Configure GPIO pins : OTG_FS_PowerSwitchOn_Pin OTG_FS_VBUS_Pin */
  GPIO_InitStruct.Pin = OTG_FS_PowerSwitchOn_Pin|OTG_FS_VBUS_Pin;
  GPIO_InitStruct.Mode = GPIO_MODE_OUTPUT_PP;
  GPIO_InitStruct.Pull = GPIO_NOPULL;
  GPIO_InitStruct.Speed = GPIO_SPEED_FREQ_LOW;
  HAL_GPIO_Init(GPIOC, &GPIO_InitStruct);

  /*Configure GPIO pins : EXT_RST_Pin GYRO_INT1_Pin */
  GPIO_InitStruct.Pin = EXT_RST_Pin|GYRO_INT1_Pin;
  GPIO_InitStruct.Mode = GPIO_MODE_EVT_RISING;
  GPIO_InitStruct.Pull = GPIO_NOPULL;
  HAL_GPIO_Init(GPIOD, &GPIO_InitStruct);

  /*Configure GPIO pins : MEMS_SCK_Pin MEMS_MISO_Pin MEMS_MOSI_Pin */
  GPIO_InitStruct.Pin = MEMS_SCK_Pin|MEMS_MISO_Pin|MEMS_MOSI_Pin;
  GPIO_InitStruct.Mode = GPIO_MODE_AF_PP;
  GPIO_InitStruct.Pull = GPIO_NOPULL;
  GPIO_InitStruct.Speed = GPIO_SPEED_FREQ_VERY_HIGH;
  GPIO_InitStruct.Alternate = GPIO_AF5_SPI2;
  HAL_GPIO_Init(GPIOD, &GPIO_InitStruct);

  /*Configure GPIO pins : USART_TX_Pin USART_RX_Pin */
  GPIO_InitStruct.Pin = USART_TX_Pin|USART_RX_Pin;
  GPIO_InitStruct.Mode = GPIO_MODE_AF_PP;
  GPIO_InitStruct.Pull = GPIO_PULLUP;
  GPIO_InitStruct.Speed = GPIO_SPEED_FREQ_VERY_HIGH;
  GPIO_InitStruct.Alternate = GPIO_AF7_USART2;
  HAL_GPIO_Init(GPIOD, &GPIO_InitStruct);

  /*Configure GPIO pin : GYRO_CS_Pin */
  GPIO_InitStruct.Pin = GYRO_CS_Pin;
  GPIO_InitStruct.Mode = GPIO_MODE_OUTPUT_PP;
  GPIO_InitStruct.Pull = GPIO_NOPULL;
  GPIO_InitStruct.Speed = GPIO_SPEED_FREQ_VERY_HIGH;
  HAL_GPIO_Init(GYRO_CS_GPIO_Port, &GPIO_InitStruct);

  /*Configure GPIO pin : M3V3_REG_ON_Pin */
  GPIO_InitStruct.Pin = M3V3_REG_ON_Pin;
  GPIO_InitStruct.Mode = GPIO_MODE_OUTPUT_PP;
  GPIO_InitStruct.Pull = GPIO_NOPULL;
  GPIO_InitStruct.Speed = GPIO_SPEED_FREQ_LOW;
  HAL_GPIO_Init(M3V3_REG_ON_GPIO_Port, &GPIO_InitStruct);

  /*Configure GPIO pins : I2C1_SCL_Pin I2C1_SDA_Pin */
  GPIO_InitStruct.Pin = I2C1_SCL_Pin|I2C1_SDA_Pin;
  GPIO_InitStruct.Mode = GPIO_MODE_AF_OD;
  GPIO_InitStruct.Pull = GPIO_NOPULL;
  GPIO_InitStruct.Speed = GPIO_SPEED_FREQ_VERY_HIGH;
  GPIO_InitStruct.Alternate = GPIO_AF4_I2C1;
  HAL_GPIO_Init(GPIOB, &GPIO_InitStruct);

  /*Configure GPIO pin : GYRO_INT2_Pin */
  GPIO_InitStruct.Pin = GYRO_INT2_Pin;
  GPIO_InitStruct.Mode = GPIO_MODE_EVT_RISING;
  GPIO_InitStruct.Pull = GPIO_NOPULL;
  HAL_GPIO_Init(GYRO_INT2_GPIO_Port, &GPIO_InitStruct);

  /*Configure GPIO pin : XL_CS_Pin */
  GPIO_InitStruct.Pin = XL_CS_Pin;
  GPIO_InitStruct.Mode = GPIO_MODE_OUTPUT_PP;
  GPIO_InitStruct.Pull = GPIO_NOPULL;
  GPIO_InitStruct.Speed = GPIO_SPEED_FREQ_LOW;
  HAL_GPIO_Init(XL_CS_GPIO_Port, &GPIO_InitStruct);

  /*Configure GPIO pin : XL_INT_Pin */
  GPIO_InitStruct.Pin = XL_INT_Pin;
  GPIO_InitStruct.Mode = GPIO_MODE_EVT_RISING;
  GPIO_InitStruct.Pull = GPIO_NOPULL;
  HAL_GPIO_Init(XL_INT_GPIO_Port, &GPIO_InitStruct);

}

void Error_Handler(void)
{
}
